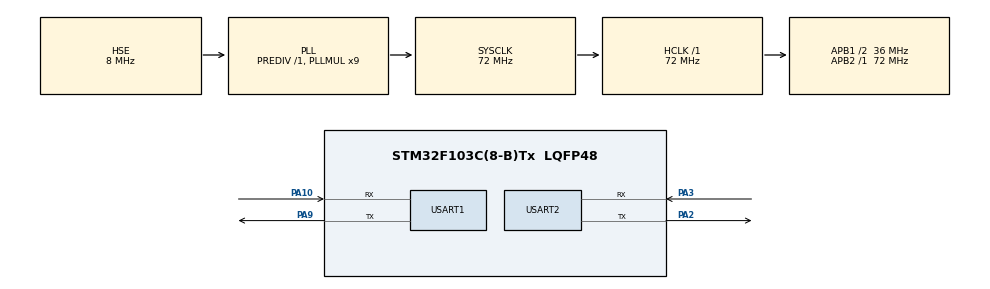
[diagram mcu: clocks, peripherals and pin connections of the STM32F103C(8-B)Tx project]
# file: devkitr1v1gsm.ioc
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Mcu.Family=STM32F1
Mcu.Name=STM32F103C(8-B)Tx
Mcu.Package=LQFP48
NVIC.PriorityGroup=NVIC_PRIORITYGROUP_4
NVIC.USART1_IRQn=true\:0\:0\:false\:false\:true\:true\:true
NVIC.USART2_IRQn=true\:0\:0\:false\:false\:true\:true\:true
PA10.Mode=Asynchronous
PA10.Signal=USART1_RX
PA2.Mode=Asynchronous
PA2.Signal=USART2_TX
PA3.Mode=Asynchronous
PA3.Signal=USART2_RX
PA9.Mode=Asynchronous
PA9.Signal=USART1_TX
PD0-OSC_IN.Mode=HSE-External-Oscillator
PD0-OSC_IN.Signal=RCC_OSC_IN
PD1-OSC_OUT.Mode=HSE-External-Oscillator
PD1-OSC_OUT.Signal=RCC_OSC_OUT
ProjectManager.HeapSize=0x200
ProjectManager.StackSize=0x400
ProjectManager.TargetToolchain=STM32CubeIDE
RCC.AHBFreq_Value=72000000
RCC.APB1CLKDivider=RCC_HCLK_DIV2
RCC.APB1Freq_Value=36000000
RCC.APB1TimFreq_Value=72000000
RCC.APB2Freq_Value=72000000
RCC.APB2TimFreq_Value=72000000
RCC.HCLKFreq_Value=72000000
RCC.PLLMUL=RCC_PLL_MUL9
RCC.PLLSourceVirtual=RCC_PLLSOURCE_HSE
RCC.SYSCLKFreq_VALUE=72000000
RCC.SYSCLKSource=RCC_SYSCLKSOURCE_PLLCLK
RCC.USBFreq_Value=72000000
USART1.VirtualMode=VM_ASYNC
USART2.VirtualMode=VM_ASYNC
VP_SYS_VS_ND.Mode=No_Debug
board=custom

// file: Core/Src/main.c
/* USER CODE BEGIN Header */
/**
  ******************************************************************************
  * @file           : main.c
  * @brief          : Main program body
  ******************************************************************************
  * @attention
  *
  * <h2><center>&copy; Copyright (c) 2020 STMicroelectronics.
  * All rights reserved.</center></h2>
  *
  * This software component is licensed by ST under BSD 3-Clause license,
  * the "License"; You may not use this file except in compliance with the
  * License. You may obtain a copy of the License at:
  *                        opensource.org/licenses/BSD-3-Clause
  *
  ******************************************************************************
  */
/* USER CODE END Header */

#include "main.h"
#include "usart.h"
#include "gpio.h"

/* USER CODE BEGIN Includes */
#include <stdlib.h>
#include <string.h>
#include <stdio.h>
#include <assert.h>

#include "../../Systick/systick.h"
#include "../../GSM/gsm.h"
#include "../../MQTT/MQTTClient.h"
/* USER CODE END Includes */

/* USER CODE BEGIN PTD */
Network network;

GSMModuleState gsmModuleState;

Timer *mqttTimer = {0};

MQTTState mqttConnectionState;
MQTTClient mqttClient;
MQTTMessage mqttMessage = {0};
MQTTString mqttTopic;
MQTTPacket_connectData mqttPacketConnectData = MQTTPacket_connectData_initializer;
/* USER CODE END PTD */

/* USER CODE BEGIN PV */
uint8_t apn_netw[30] = {"iot.safaricom.com"};
uint8_t apn_user[10] = {"none"};
uint8_t apn_pass[10] = {"none"};

int sent_failed_count = 0;
uint8_t tcp_connection_failed_count = 0;
uint32_t sim_disconnected = 0;
uint8_t command_failed_count = 0;
int sim_module_on_counter = 0;

const char *broker_url = "broker.africastalking.com";
int broker_port = 1883;

unsigned char mqtt_outbound_buffer[80];
unsigned char mqtt_inbound_buffer[80];
char mqttTopicName[100];

int publish_birth_message = 0;
/* USER CODE END PV */

void SystemClock_Config(void);

int main(void)
{

  /* MCU Configuration--------------------------------------------------------*/

  /* Reset of all peripherals, Initializes the Flash interface and the Systick. */
  HAL_Init();

  /* Configure the system clock */
  SystemClock_Config();

  /* Initialize all configured peripherals */
  MX_GPIO_Init();
  MX_USART1_UART_Init();
  MX_USART2_UART_Init();
  /* USER CODE BEGIN 2 */

 // Weird Code
  UART1FIFOInit();
  UART2FIFOInit();
  MQTTClientInit(&mqttClient, &network, 3000, mqtt_outbound_buffer, sizeof(mqtt_outbound_buffer), mqtt_inbound_buffer, sizeof(mqtt_inbound_buffer));
 // This section would fail if you mistakenly put it inside USER CODE BEGIN Init section
 // End weird code

  mqttConnectionState = MQTTOff;
  mqttPacketConnectData.MQTTVersion = 4;
  mqttPacketConnectData.keepAliveInterval = 60;
  mqttPacketConnectData.cleansession = 0;
  mqttPacketConnectData.clientID.cstring = (char *)DEVICE_ID;
  mqttPacketConnectData.username.cstring = (char *)AUTH_CREDENTIALS;
  mqttPacketConnectData.password.cstring = (char *)MQTT_PASSWORD;
  mqttPacketConnectData.will.topicName.cstring = (char *)DEVICE_WILL_TOPIC;
  mqttPacketConnectData.will.message.cstring = (char *)WILL_MESSAGE;
  mqttPacketConnectData.will.qos = MQTT_QOS;
  /* USER CODE END 2 */

  /* Infinite loop */
  while (1)
  {
    if (gsmModuleState == Off)
    {
      serialPrint("\nSIM State is Off.Initializing\r\n");
      if (initializeSIMModule())
      {
        gsmModuleState = On;
        serialPrint("\nSIM Module initilized\r\n");
      }
    }
    if (gsmModuleState == On)
    {
      serialPrint("\nSIM module is on\r\n");
      sim_module_on_counter++;
      if (sim_module_on_counter > 300)
      {
        // Should we reset the SIM Module after 300 cycles?
        serialPrint("\nReset ?\r\n");
        //TODO: Hack Find a way to cycle : // Won't fix, R1 board has an always ON GSM setup

        sim_module_on_counter = 0;
        gsmModuleState = Off;
        sent_failed_count = 0;
        tcp_connection_failed_count = 0;
      }
      if (checkSIMNetworkState())
      {
        if (setupTCP())
        {
          gsmModuleState = Registered;
          serialPrint("\nNetwork registered\r\n");
        }
      }
    }
    if (sent_failed_count > 10)
    {
      gsmModuleState = On;
      sent_failed_count = 0;
      tcp_connection_failed_count = 0;
      serialPrint("\nGPRS Connection failed\r\n");
    }
    if (tcp_connection_failed_count > 20)
    {
      gsmModuleState = On;
      tcp_connection_failed_count = 0;
      sent_failed_count = 0;
      serialPrint("\nTCP Connection failed\r\n");
    }
    if (gsmModuleState == Registered)
    {
      gsmKeepAlive();
      getTCPStatus(300);
      if (tcpConnectionObject.state == CONNECTED)
      {
        serialPrint("\nConnected to TCP Endpoint.\r\n");
        cycle(&mqttClient, mqttTimer);
      }
      else if ((tcpConnectionObject.state == CLOSED) || (tcpConnectionObject.state == INITIAL))
      {
        uint8_t data_length;
        uint8_t data_bucket[100];
        data_length = snprintf((char *)data_bucket, 64, "AT+CIPSTART=0,\"TCP\",\"%s\",\"%i\"\r", broker_url, broker_port);
        if (sendATCommand(data_bucket, data_length, "CONNECT OK", 300))
        {
          serialPrint("\nConnected to endpoint\r\n");
        }
        else
        {
          serialPrint("\nTCP Connection failed\r\n");
          sent_failed_count++;
        }
        publish_birth_message = 1;
      }
    }
    if (tcpConnectionObject.state == CONNECTED)
    {
      serialPrint("\nStill connected.\r\n");
      MQTTConnect(&mqttClient, &mqttPacketConnectData);
      char birthMessage[100];
      mqttMessage.dup = 0;
      mqttMessage.qos = MQTT_QOS;
      mqttMessage.id = 0;
      mqttMessage.retained = 0;
      mqttMessage.payload = birthMessage;
      sprintf(birthMessage, (char *)BIRTH_MESSAGE);
      mqttMessage.payloadlen = strlen((char *)mqttMessage.payload) + 1;
      if (publish_birth_message)
      {
        if (MQTTPublish(&mqttClient, (char *)DEVICE_BIRTH_TOPIC, &mqttMessage) == 0)
        {
          serialPrint("Birth message published \r\n");
          sent_failed_count = 0;
          publish_birth_message = 0;
        }
        else
        {
          serialPrint("Unable to publish birth message \r\n");
          sent_failed_count++;
          publish_birth_message = 1;
        }
        if (mqttConnectionState != MQTTSubscribed)
        {
          sprintf(mqttTopicName, (char *)DEVICE_DOWNSTREAM_TOPIC);
          if (MQTTSubscribe(&mqttClient, mqttTopicName, MQTT_QOS, downStreamCommandHandler) == 0)
          {
            serialPrint("Subscribed to downstream topic \r\n");
            mqttConnectionState = MQTTSubscribed;
          }
          else
          {
            serialPrint("Unable to subscribe to Topic \r\n");
          }
        }
      }
    }
    else
    {
      serialPrint("\nDisconnected\r\n");
      mqttConnectionState = MQTTOff;
    }
  }
}

void SystemClock_Config(void)
{
  RCC_OscInitTypeDef RCC_OscInitStruct = {0};
  RCC_ClkInitTypeDef RCC_ClkInitStruct = {0};

  /** Initializes the CPU, AHB and APB busses clocks
  */
  RCC_OscInitStruct.OscillatorType = RCC_OSCILLATORTYPE_HSE;
  RCC_OscInitStruct.HSEState = RCC_HSE_ON;
  RCC_OscInitStruct.HSEPredivValue = RCC_HSE_PREDIV_DIV1;
  RCC_OscInitStruct.HSIState = RCC_HSI_ON;
  RCC_OscInitStruct.PLL.PLLState = RCC_PLL_ON;
  RCC_OscInitStruct.PLL.PLLSource = RCC_PLLSOURCE_HSE;
  RCC_OscInitStruct.PLL.PLLMUL = RCC_PLL_MUL9;
  if (HAL_RCC_OscConfig(&RCC_OscInitStruct) != HAL_OK)
  {
    Error_Handler();
  }
  /** Initializes the CPU, AHB and APB busses clocks
  */
  RCC_ClkInitStruct.ClockType = RCC_CLOCKTYPE_HCLK | RCC_CLOCKTYPE_SYSCLK | RCC_CLOCKTYPE_PCLK1 | RCC_CLOCKTYPE_PCLK2;
  RCC_ClkInitStruct.SYSCLKSource = RCC_SYSCLKSOURCE_PLLCLK;
  RCC_ClkInitStruct.AHBCLKDivider = RCC_SYSCLK_DIV1;
  RCC_ClkInitStruct.APB1CLKDivider = RCC_HCLK_DIV2;
  RCC_ClkInitStruct.APB2CLKDivider = RCC_HCLK_DIV1;

  if (HAL_RCC_ClockConfig(&RCC_ClkInitStruct, FLASH_LATENCY_2) != HAL_OK)
  {
    Error_Handler();
  }
}

/* USER CODE BEGIN 4 */
void downStreamCommandHandler(MessageData *messageData)
{
  serialPrint("Received a message %s : \r\n", messageData->message->payload);
  serialPrint("Topic is %s \r\n", messageData->topicName);
  memset((char *)messageData->message->payload, '\0', sizeof(uint8_t));
  memset((char *)messageData->topicName, '\0', sizeof(uint8_t));
  serialPrint("Sending message \r\n");

  char dataMessage[100];
  mqttMessage.dup = 0;
  mqttMessage.qos = MQTT_QOS;
  mqttMessage.id = 0;
  mqttMessage.retained = 0;
  mqttMessage.payload = dataMessage;
  sprintf(dataMessage, "test");
  mqttMessage.payloadlen = strlen((char *)mqttMessage.payload) + 1;
  if (MQTTPublish(&mqttClient, (char *)DEVICE_UPSTREAM_TOPIC, &mqttMessage) == 0)
  {
    serialPrint("Message published \r\n");
  }
  else
  {
    serialPrint("Unable to publish message \r\n");
    sent_failed_count++;
  }
}

int serialPrint(const char *string_format, ...)
{
  if (DEVEL)
  {
    return printf(string_format);
  }
  else
  {
    return 0;
  }
}

int __io_putchar(uint8_t ch)
{
  if (ch)
  {
    UART1PutChar(ch);
    return ch;
  }
  else
  {
    return 0;
  }
}
/* USER CODE END 4 */

void Error_Handler(void)
{
}

/************************ (C) COPYRIGHT STMicroelectronics *****END OF FILE****/
